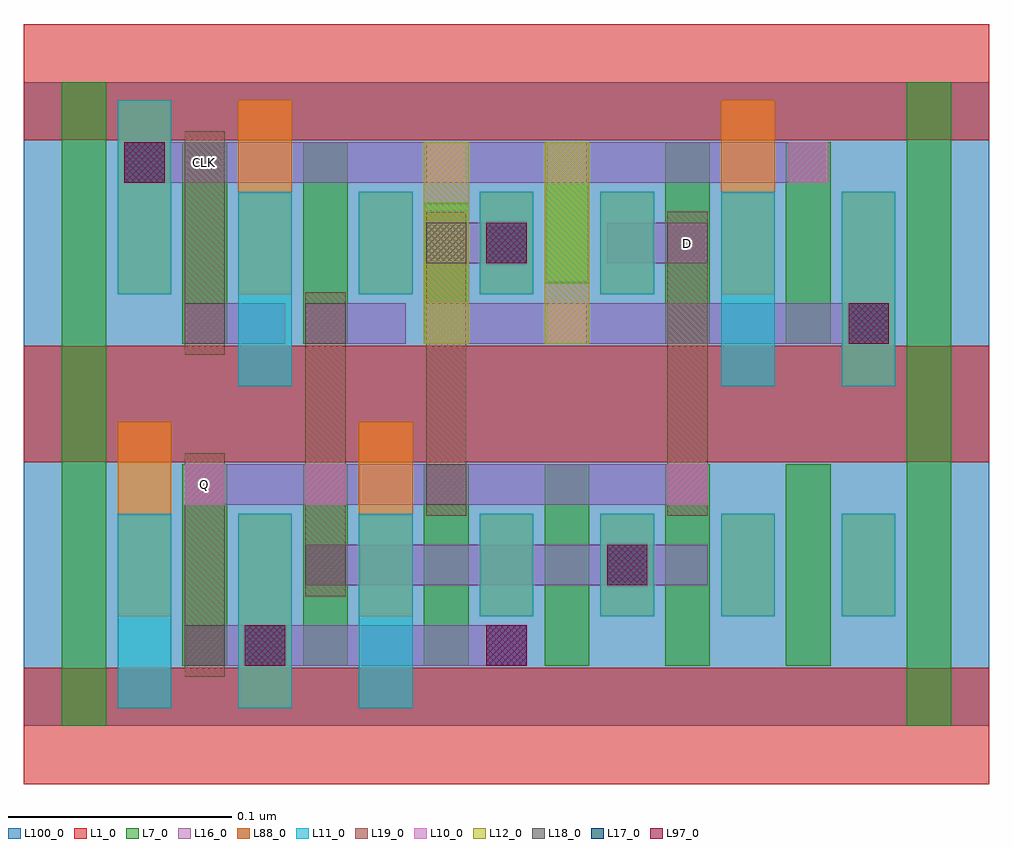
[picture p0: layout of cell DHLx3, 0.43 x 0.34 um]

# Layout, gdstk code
import gdstk
lib = gdstk.Library(unit=1e-6, precision=2.5e-10)
def R(c, l, rs):  # rectangles x0, y0, x1, y1
    for r in rs: c.add(gdstk.rectangle(r[:2], r[2:], *l))
def A(c, l, x, y, w, h, nx, ny, dx, dy):  # array of equal rectangles
    R(c, l, [(x+i*dx, y+j*dy, x+i*dx+w, y+j*dy+h) for i in range(nx) for j in range(ny)])
L1_0 = (1, 0)
L7_0 = (7, 0)
L10_0 = (10, 0)
L11_0 = (11, 0)
L12_0 = (12, 0)
L16_0 = (16, 0)
L17_0 = (17, 0)
L18_0 = (18, 0)
L19_0 = (19, 0)
L88_0 = (88, 0)
L97_0 = (97, 0)
L100_0 = (100, 0)

dhlx3 = lib.new_cell('DHLx3')
A(dhlx3, L1_0, 0, -0.026, 0.432, 0.052, 1, 3, 0, 0.144)
A(dhlx3, L7_0, 0.071, 0.027, 0.02, 0.09, 6, 1, 0.054, 0)
R(dhlx3, L7_0, [(0.017,0,0.037,0.144), (0.395,0,0.415,0.144), (0.017,0.144,0.037,0.288), (0.395,0.144,0.415,0.288), (0.071,0.171,0.091,0.261), (0.125,0.171,0.145,0.261), (0.179,0.171,0.199,0.234), (0.287,0.171,0.307,0.261), (0.341,0.171,0.361,0.261), (0.233,0.198,0.253,0.261)])
A(dhlx3, L10_0, 0.072, 0.099, 0.018, 0.018, 3, 1, 0.054, 0)
A(dhlx3, L10_0, 0.072, 0.171, 0.018, 0.018, 4, 1, 0.054, 0)
R(dhlx3, L10_0, [(0.288,0.099,0.306,0.117), (0.288,0.207,0.306,0.225), (0.18,0.243,0.198,0.261), (0.234,0.243,0.252,0.261), (0.342,0.243,0.36,0.261)])
A(dhlx3, L11_0, 0.042, 0.008, 0.024, 0.087, 3, 1, 0.054, 0)
A(dhlx3, L11_0, 0.204, 0.049, 0.024, 0.046, 4, 1, 0.054, 0)
A(dhlx3, L11_0, 0.15, 0.193, 0.024, 0.046, 3, 1, 0.054, 0)
R(dhlx3, L11_0, [(0.096,0.152,0.12,0.239), (0.312,0.152,0.336,0.239), (0.366,0.152,0.39,0.239), (0.042,0.193,0.066,0.28)])
R(dhlx3, L12_0, [(0.179,0.171,0.199,0.261), (0.233,0.171,0.253,0.261)])
R(dhlx3, L16_0, [(0.072,0.027,0.225,0.045), (0.126,0.063,0.306,0.081), (0.072,0.099,0.306,0.117), (0.072,0.171,0.117,0.189), (0.126,0.171,0.171,0.189), (0.18,0.171,0.387,0.189), (0.18,0.207,0.225,0.225), (0.261,0.207,0.306,0.225), (0.045,0.243,0.36,0.261)])
R(dhlx3, L17_0, [(0.099,0.027,0.117,0.045), (0.207,0.027,0.225,0.045), (0.261,0.063,0.279,0.081), (0.369,0.171,0.387,0.189), (0.207,0.207,0.225,0.225), (0.045,0.243,0.063,0.261)])
R(dhlx3, L18_0, [(0.072,0.027,0.09,0.045), (0.126,0.063,0.144,0.081), (0.18,0.099,0.198,0.117), (0.072,0.171,0.09,0.189), (0.126,0.171,0.144,0.189), (0.18,0.207,0.198,0.225), (0.288,0.207,0.306,0.225)])
R(dhlx3, L19_0, [(0.072,0.022,0.09,0.122), (0.126,0.058,0.144,0.194), (0.18,0.094,0.198,0.23), (0.288,0.094,0.306,0.23), (0.072,0.166,0.09,0.266)])
A(dhlx3, L88_0, 0.204, 0.049, 0.024, 0.046, 4, 1, 0.054, 0)
A(dhlx3, L88_0, 0.15, 0.193, 0.024, 0.046, 3, 1, 0.054, 0)
R(dhlx3, L88_0, [(0.096,0.008,0.12,0.095), (0.042,0.049,0.066,0.136), (0.15,0.049,0.174,0.136), (0.366,0.152,0.39,0.239), (0.042,0.193,0.066,0.28), (0.096,0.193,0.12,0.28), (0.312,0.193,0.336,0.28)])
R(dhlx3, L97_0, [(0.099,0.027,0.117,0.045), (0.207,0.027,0.225,0.045), (0.261,0.063,0.279,0.081), (0.369,0.171,0.387,0.189), (0.207,0.207,0.225,0.225), (0.045,0.243,0.063,0.261)])
R(dhlx3, L100_0, [(0,0,0.432,0.288)])
dhlx3.add(gdstk.Label('CLK', (0.081,0.252), layer=19, texttype=251))
dhlx3.add(gdstk.Label('D', (0.297,0.216), layer=19, texttype=251))
dhlx3.add(gdstk.Label('Q', (0.081,0.108), layer=19, texttype=251))

lib.write_gds('DHLx3.gds')
